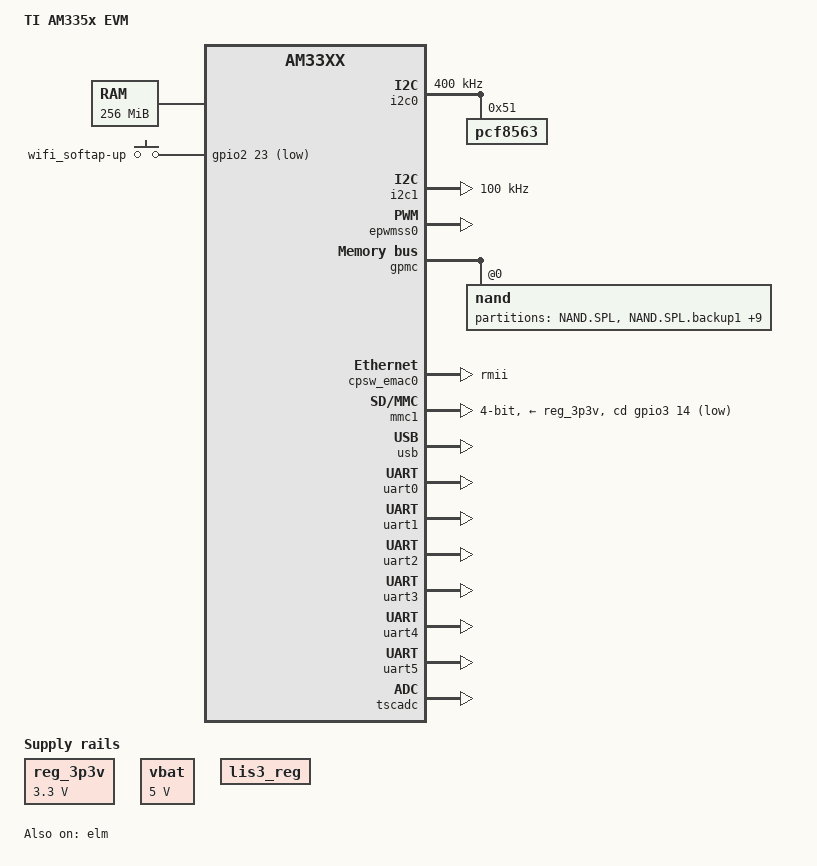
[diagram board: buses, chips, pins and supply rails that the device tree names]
/*
 * Copyright (C) 2012 Texas Instruments Incorporated - http://www.ti.com/
 *
 * This program is free software; you can redistribute it and/or modify
 * it under the terms of the GNU General Public License version 2 as
 * published by the Free Software Foundation.
 */
/dts-v1/;

#include "am33xx.dtsi"

/ {
	model = "TI AM335x EVM";
	compatible = "ti,am335x-evm", "ti,am33xx";

	memory {
		device_type = "memory";
		reg = <0x80000000 0x10000000>; /* 256 MB */
	};

	regulators {
		compatible = "simple-bus";

		reg_3p3v: 3p3v {
			  compatible = "regulator-fixed";
			  regulator-name = "3P3V";
			  regulator-min-microvolt = <3300000>;
			  regulator-max-microvolt = <3300000>;
			  regulator-always-on;
		};
	};	

	am33xx_pinmux: pinmux@44e10800 {
		pinctrl-names = "default";
		pinctrl-0 = <&user_gpios &wifi_sw_ap_key &clkout2_pin>;

        user_gpios: user_gpios {
            pinctrl-single,pins = < 
                0xE0  (PIN_OUTPUT_PULLDOWN | MUX_MODE7)  /* lcd_vsync.gpio2_22 : WIFI_LED   */
                0x6C  (PIN_INPUT_PULLDOWN  | MUX_MODE7)  /* gpmc_a11.gpio1_27  : CPU_SUB1GHZ_GPIO */
                0x168 (PIN_OUTPUT_PULLUP   | MUX_MODE7)  /* uart0_ctsn.gpio1_8 : SUB1GHZ_RST */
 				0x40  (PIN_OUTPUT_PULLUP   | MUX_MODE7)  /* gpmc_a0.gpio1_16   : ZB_RESET  */
            >;
        };

		wifi_sw_ap_key: wifi_sw_ap_key {
			pinctrl-single,pins = <
                0xE4  (PIN_INPUT_PULLDOWN  | MUX_MODE7)  /* lcd_hsync.gpio2_23 : WIFI_SW_AP */
			>;
		};

        i2c0_pins: pinmux_i2c0_pins {
			pinctrl-single,pins = <
				0x188 (PIN_INPUT_PULLUP | MUX_MODE0)	/* i2c0_sda.i2c0_sda */
				0x18c (PIN_INPUT_PULLUP | MUX_MODE0)	/* i2c0_scl.i2c0_scl */
			>;
		};

		i2c1_pins: pinmux_i2c1_pins {
			pinctrl-single,pins = <
				0x158 (PIN_INPUT_PULLUP | MUX_MODE2)	/* spi0_d1.i2c1_sda */
				0x15c (PIN_INPUT_PULLUP | MUX_MODE2)	/* spi0_cs0.i2c1_scl */
			>;
		};

		uart0_pins: pinmux_uart0_pins {
			pinctrl-single,pins = <
				0x170 (PIN_INPUT_PULLUP    | MUX_MODE0)	/* uart0_rxd.uart0_rxd */
				0x174 (PIN_OUTPUT          | MUX_MODE0)	/* uart0_txd.uart0_txd */
			>;
		};

		uart1_pins: pinmux_uart1_pins {
			pinctrl-single,pins = <
				0x1A4 (PIN_OUTPUT_PULLDOWN | MUX_MODE7)	/* mcasp0_fsr.gpio3_19 : RTS */
				0x180 (PIN_INPUT_PULLUP    | MUX_MODE0)	/* uart1_rxd.uart1_rxd */
				0x184 (PIN_OUTPUT          | MUX_MODE0) /* uart1_txd.uart1_txd */
			>;
		};
		uart2_pins: pinmux_uart2_pins {
			pinctrl-single,pins = <
				0x19C (PIN_OUTPUT_PULLDOWN | MUX_MODE7)	/* mcasp0_ahclkr.gpio3_17 : RTS */
				0x150 (PIN_INPUT_PULLUP    | MUX_MODE1)	/* spi0_sclk.uart2_rxd */
				0x154 (PIN_OUTPUT          | MUX_MODE1) /* spi0_d0.uart2_txd */
			>;
		};

		uart3_pins: pinmux_uart3_pins {
			pinctrl-single,pins = <
				0x160 (PIN_INPUT_PULLUP    | MUX_MODE1)	/* spi0_cs1.uart3_rxd */
				0x164 (PIN_OUTPUT          | MUX_MODE1) /* ecap0_in_pwm0_out.uart3_txd */
			>;
		};

		uart4_pins: pinmux_uart4_pins {
			pinctrl-single,pins = <
				0x64  (PIN_OUTPUT_PULLDOWN | MUX_MODE7)	/* gpmc_a9.gpio1_25 : RTS */
				0x11C (PIN_INPUT_PULLUP    | MUX_MODE3)	/* mii1_txd3.uart4_rxd */
				0x120 (PIN_OUTPUT          | MUX_MODE3) /* mii1_txd2.uart4_txd */
			>;
		};

		uart5_pins: pinmux_uart5_pins {
			pinctrl-single,pins = <
				0x108 (PIN_INPUT_PULLUP    | MUX_MODE3)	/* mii1_col.uart5_rxd */
				0x118 (PIN_OUTPUT          | MUX_MODE3) /* mii1_rx_dv.uart5_txd */
			>;
		};

		clkout2_pin: pinmux_clkout2_pin {
			pinctrl-single,pins = <
				0x1b4 (PIN_OUTPUT_PULLDOWN | MUX_MODE3)	/* xdma_event_intr1.clkout2 */
			>;
		};

		nandflash_pins_s0: nandflash_pins_s0 {
			pinctrl-single,pins = <
				0x0 (PIN_INPUT_PULLUP  | MUX_MODE0)	/* gpmc_ad0.gpmc_ad0 */
				0x4 (PIN_INPUT_PULLUP  | MUX_MODE0)	/* gpmc_ad1.gpmc_ad1 */
				0x8 (PIN_INPUT_PULLUP  | MUX_MODE0)	/* gpmc_ad2.gpmc_ad2 */
				0xc (PIN_INPUT_PULLUP  | MUX_MODE0)	/* gpmc_ad3.gpmc_ad3 */
				0x10 (PIN_INPUT_PULLUP | MUX_MODE0)	/* gpmc_ad4.gpmc_ad4 */
				0x14 (PIN_INPUT_PULLUP | MUX_MODE0)	/* gpmc_ad5.gpmc_ad5 */
				0x18 (PIN_INPUT_PULLUP | MUX_MODE0)	/* gpmc_ad6.gpmc_ad6 */
				0x1c (PIN_INPUT_PULLUP | MUX_MODE0)	/* gpmc_ad7.gpmc_ad7 */
				0x70 (PIN_INPUT_PULLUP | MUX_MODE0)	/* gpmc_wait0.gpmc_wait0 */
				0x74 (PIN_INPUT_PULLUP | MUX_MODE7)	/* gpmc_wpn.gpio0_30 */
				0x7c (PIN_OUTPUT       | MUX_MODE0)	/* gpmc_csn0.gpmc_csn0  */
				0x90 (PIN_OUTPUT       | MUX_MODE0)	/* gpmc_advn_ale.gpmc_advn_ale */
				0x94 (PIN_OUTPUT       | MUX_MODE0)	/* gpmc_oen_ren.gpmc_oen_ren */
				0x98 (PIN_OUTPUT       | MUX_MODE0)	/* gpmc_wen.gpmc_wen */
				0x9c (PIN_OUTPUT       | MUX_MODE0)	/* gpmc_be0n_cle.gpmc_be0n_cle */
			>;
		};

		cpsw_default: cpsw_default {
			pinctrl-single,pins = < 
				/* Slave 1 */
				0x10c (PIN_INPUT_PULLDOWN  | MUX_MODE1) /* mii1_crs.rmii1_crs */
				0x110 (PIN_INPUT_PULLUP    | MUX_MODE1) /* mii1_rxerr.rmii1_rxerr */
				0x114 (PIN_OUTPUT_PULLDOWN | MUX_MODE1) /* mii1_txen.rmii1_txen */
				0x124 (PIN_OUTPUT_PULLDOWN | MUX_MODE1) /* mii1_txd1.rmii1_txd1 */
				0x128 (PIN_OUTPUT_PULLDOWN | MUX_MODE1) /* mii1_txd0.rmii1_txd0 */
				0x13c (PIN_INPUT_PULLUP    | MUX_MODE1) /* mii1_rxd1.rmii1_rxd1 */
				0x140 (PIN_INPUT_PULLUP    | MUX_MODE1) /* mii1_rxd0.rmii1_rxd0 */
				0x144 (PIN_INPUT_PULLDOWN  | MUX_MODE0) /* rmii1_ref_clk.rmii_ref_clk */
				0x78  (PIN_OUTPUT_PULLUP   | MUX_MODE7) /* gpmc_ben1.gpio1_28 : RESET */
			>;
		};

		cpsw_sleep: cpsw_sleep {
			pinctrl-single,pins = < 
				/* Slave 1 reset value */
				0x10c (PIN_INPUT_PULLDOWN | MUX_MODE7)
				0x110 (PIN_INPUT_PULLDOWN | MUX_MODE7)
				0x114 (PIN_INPUT_PULLDOWN | MUX_MODE7)
				0x118 (PIN_INPUT_PULLDOWN | MUX_MODE7)
				0x124 (PIN_INPUT_PULLDOWN | MUX_MODE7)
				0x128 (PIN_INPUT_PULLDOWN | MUX_MODE7)
				0x13c (PIN_INPUT_PULLDOWN | MUX_MODE7)
				0x140 (PIN_INPUT_PULLDOWN | MUX_MODE7)
				0x144 (PIN_INPUT_PULLDOWN | MUX_MODE7)
				0x78  (PIN_INPUT_PULLDOWN | MUX_MODE7)
			>;
		};

		davinci_mdio_default: davinci_mdio_default {
			pinctrl-single,pins = <
				/* MDIO */
				0x148 (PIN_INPUT_PULLUP  | SLEWCTRL_FAST | MUX_MODE0)	/* mdio_data.mdio_data */
				0x14c (PIN_OUTPUT_PULLUP | MUX_MODE0)			        /* mdio_clk.mdio_clk   */
			>;
		};

		davinci_mdio_sleep: davinci_mdio_sleep {
			pinctrl-single,pins = <
				/* MDIO reset value */
				0x148 (PIN_INPUT_PULLDOWN | MUX_MODE7)
				0x14c (PIN_INPUT_PULLDOWN | MUX_MODE7)
			>;
		};

		mmc1_pins_default: pinmux_mmc1_pins {
			pinctrl-single,pins = <
				0x0F0 (PIN_INPUT_PULLUP | MUX_MODE0)    /* mmc0_dat3.mmc0_dat3 */
				0x0F4 (PIN_INPUT_PULLUP | MUX_MODE0)    /* mmc0_dat2.mmc0_dat2 */
				0x0F8 (PIN_INPUT_PULLUP | MUX_MODE0)    /* mmc0_dat1.mmc0_dat1 */
				0x0FC (PIN_INPUT_PULLUP | MUX_MODE0)    /* mmc0_dat0.mmc0_dat0 */
				0x100 (PIN_INPUT_PULLUP | MUX_MODE0)    /* mmc0_clk.mmc0_clk */
				0x104 (PIN_INPUT_PULLUP | MUX_MODE0)    /* mmc0_cmd.mmc0_cmd */
				0x190 (PIN_INPUT_PULLUP | MUX_MODE7) 	/* mcasp0_aclkx.gpio3_14 */
			>;
		};

		mmc1_pins_sleep: pinmux_mmc1_pins_sleep {
			pinctrl-single,pins = <
				0x0F0 (PIN_INPUT_PULLDOWN | MUX_MODE7)
				0x0F4 (PIN_INPUT_PULLDOWN | MUX_MODE7)
				0x0F8 (PIN_INPUT_PULLDOWN | MUX_MODE7)
				0x0FC (PIN_INPUT_PULLDOWN | MUX_MODE7)
				0x100 (PIN_INPUT_PULLDOWN | MUX_MODE7)
				0x104 (PIN_INPUT_PULLUP   | MUX_MODE7)    /* mmc0_cmd.mmc0_cmd */
				0x190 (PIN_INPUT_PULLDOWN | MUX_MODE7)
			>;
		};
	};

	ocp {
		vbat: fixedregulator@0 {
			compatible = "regulator-fixed";
			regulator-name = "vbat";
			regulator-min-microvolt = <5000000>;
			regulator-max-microvolt = <5000000>;
			regulator-boot-on;
		};

		lis3_reg: fixedregulator@1 {
			compatible = "regulator-fixed";
			regulator-name = "lis3_reg";
			regulator-boot-on;
		};

		gpio_keys: volume_keys@0 {
			compatible = "gpio-keys";
			#address-cells = <1>;
			#size-cells = <0>;
			autorepeat;

			switch@0 {
				label = "wifi_softap-up";
				linux,code = <115>;
				gpios = <&gpio2 23 GPIO_ACTIVE_LOW>;
				gpio-key,wakeup;
			};
		};
	};
};

&i2c0 {
	pinctrl-names = "default";
	pinctrl-0 = <&i2c0_pins>;
	status = "okay";
	clock-frequency = <400000>;

	pcf8563: rtc@51 {
		compatible = "pcf8563";
		reg = <0x51>;
	};            
};

&i2c1 {
	pinctrl-names = "default";
	pinctrl-0 = <&i2c1_pins>;
	status = "okay";
	clock-frequency = <100000>;
};

&elm {
	status = "okay";
};

&epwmss0 {
	status = "okay";
};

&gpmc {
	status = "okay";
	pinctrl-names = "default";
	pinctrl-0 = <&nandflash_pins_s0>;
	ranges = <0 0 0x08000000 0x10000000>;	/* CS0: NAND */
	nand@0,0 {
			reg = <0 0 0>; /* CS0, offset 0 */
			nand-bus-width = <8>;
			gpmc,device-width = <1>;
			gpmc,sync-clk-ps = <0>;
			gpmc,cs-on-ns = <0>;
			gpmc,cs-rd-off-ns = <44>;
			gpmc,cs-wr-off-ns = <44>;
			gpmc,adv-on-ns = <6>;
			gpmc,adv-rd-off-ns = <34>;
			gpmc,adv-wr-off-ns = <44>;
			gpmc,we-on-ns = <0>;
			gpmc,we-off-ns = <40>;
			gpmc,oe-on-ns = <0>;
			gpmc,oe-off-ns = <54>;
			gpmc,access-ns = <64>;
			gpmc,rd-cycle-ns = <82>;
			gpmc,wr-cycle-ns = <82>;
			gpmc,wait-on-read = "true";
			gpmc,wait-on-write = "true";
			gpmc,bus-turnaround-ns = <0>;
			gpmc,cycle2cycle-delay-ns = <0>;
			gpmc,clk-activation-ns = <0>;
			gpmc,wait-monitoring-ns = <0>;
			gpmc,wr-access-ns = <40>;
			gpmc,wr-data-mux-bus-ns = <0>;
			ti,nand-ecc-opt= "bch8";
			ti,elm-id = <&elm>;
			/* MTD partition table */
			/* All SPL-* partitions are sized to minimal length
			 * which can be independently programmable. For
			 * NAND flash this is equal to size of erase-block */
			#address-cells = <1>;
			#size-cells = <1>;
			partition@0 {
				label = "NAND.SPL";
				reg = <0x00000000 0x000020000>;
			};
			partition@1 {
				label = "NAND.SPL.backup1";
			  	reg = <0x00020000 0x00020000>;
			};
			partition@2 {
			  	label = "NAND.SPL.backup2";
			  	reg = <0x00040000 0x00020000>;
			};
			partition@3 {
			 	label = "NAND.SPL.backup3";
			  	reg = <0x00060000 0x00020000>;
			};
			partition@4 {
			  	label = "NAND.u-boot-spl-os";
			  	reg = <0x00080000 0x00040000>;
			};
			partition@5 {
			  	label = "NAND.u-boot";
			  	reg = <0x000C0000 0x00100000>;
			};
			partition@6 {
			  	label = "NAND.u-boot-env";
			  	reg = <0x001C0000 0x00020000>;
			};
			partition@7 {
			  	label = "NAND.u-boot-env.backup1";
			  	reg = <0x001E0000 0x00020000>;
			};
			partition@8 {
			  	label = "NAND.kernel";
			  	reg = <0x00200000 0x00800000>;
			};
			partition@9 {
			  	label = "NAND.file-system";
			  	reg = <0x00A00000 0x01000000>;
			};
			partition@010 {
			 	label = "NAND.application";
			 	reg = <0x01A00000 0x0E600000>;
			};
	};
};

&mac {
	slaves = <1>;
	pinctrl-names = "default", "sleep";
	pinctrl-0 = <&cpsw_default>;
	pinctrl-1 = <&cpsw_sleep>;
};

&davinci_mdio {
	pinctrl-names = "default", "sleep";
	pinctrl-0 = <&davinci_mdio_default>;
	pinctrl-1 = <&davinci_mdio_sleep>;
};

&cpsw_emac0 {
	phy_id = <&davinci_mdio>, <0>;
	phy-mode = "rmii";
};

&phy_sel {
    rmii-clock-ext;
};

&mmc1 {
	status = "okay";
	vmmc-supply = <&reg_3p3v>;
	bus-width = <4>;
	pinctrl-names = "default", "sleep";
	pinctrl-0 = <&mmc1_pins_default>;
	pinctrl-1 = <&mmc1_pins_sleep>;
	cd-gpios = <&gpio3 14 GPIO_ACTIVE_HIGH>;
	cd-inverted;
};

&usb {
    status = "okay";

    control@44e10620 {
        status = "okay";
    };  

    usb-phy@47401300 {
        status = "okay";
    };  

    usb-phy@47401b00 {
        status = "okay";
    };  

    usb@47401000 {
        status = "okay";
        dr_mode = "host";
    };  

    usb@47401800 {
        status = "okay";
        dr_mode = "host";
    };  

    dma-controller@47402000  {
        status = "okay";
    };  
};

&uart0 {
	pinctrl-names = "default";
	pinctrl-0 = <&uart0_pins>;
	status = "okay";
};

&uart1 {
	pinctrl-names = "default";
	pinctrl-0 = <&uart1_pins>;
	status = "okay";
    rts-gpio = <&gpio3 19 GPIO_ACTIVE_HIGH>;
    rs485-rts-active-high;
    rs485-rts-delay = <1 1>;
    linux,rs485-enabled-at-boot-time;
};

&uart2 {
	pinctrl-names = "default";
	pinctrl-0 = <&uart2_pins>;
	status = "okay";
    rts-gpio = <&gpio3 17 GPIO_ACTIVE_HIGH>;
    rs485-rts-active-high;
    rs485-rts-delay = <1 1>;
    linux,rs485-enabled-at-boot-time;
};

&uart3 {
	pinctrl-names = "default";
	pinctrl-0 = <&uart3_pins>;
	status = "okay";
};

&uart4 {
	pinctrl-names = "default";
	pinctrl-0 = <&uart4_pins>;
	status = "okay";
    rts-gpio = <&gpio1 25 GPIO_ACTIVE_HIGH>;
    rs485-rts-active-high;
    rs485-rts-delay = <1 1>;
    linux,rs485-enabled-at-boot-time;
};

&uart5 {
	pinctrl-names = "default";
	pinctrl-0 = <&uart5_pins>;
	status = "okay";
};

&tscadc {
	status = "okay";
	adc {
		ti,adc-channels = <0 1 4 6 7>;
	};
};

&wkup_m3 {
	ti,scale-data-fw = "am335x-evm-scale-data.bin";
};

&edma {
	ti,edma-xbar-event-map = <1 12 
		                      2 13>;
};

